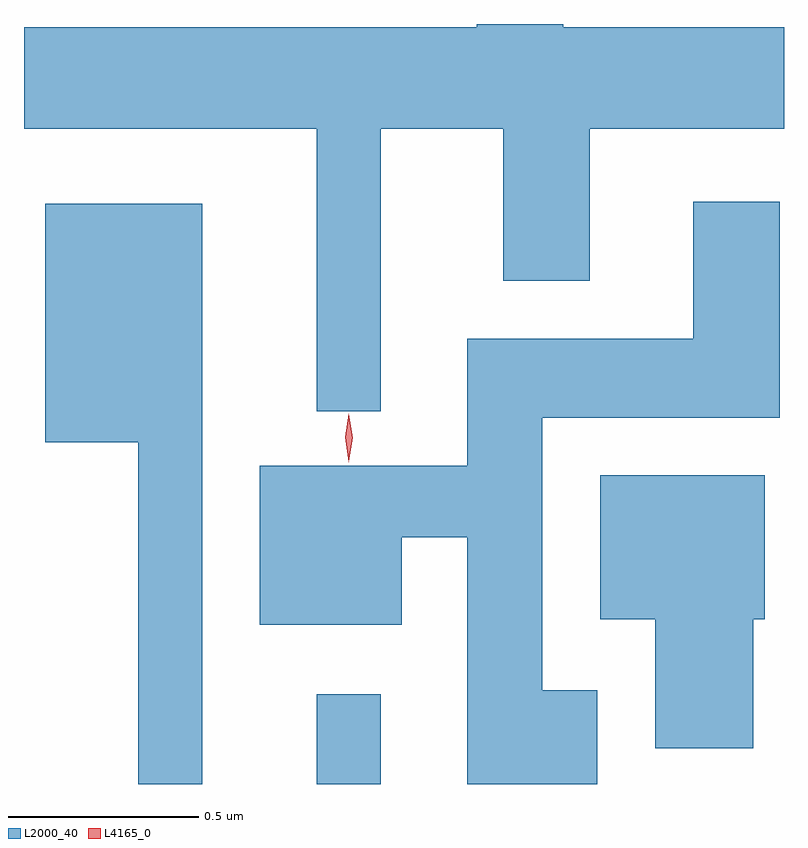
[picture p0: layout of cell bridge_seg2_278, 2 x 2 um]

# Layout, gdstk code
import gdstk
lib = gdstk.Library(unit=1e-6, precision=1e-09)
def R(c, l, rs):  # rectangles x0, y0, x1, y1
    for r in rs: c.add(gdstk.rectangle(r[:2], r[2:], *l))
def P(c, l, *ps):  # polygons
    for p in ps: c.add(gdstk.Polygon(p, *l))
L2000_40 = (2000, 40)
L4165_0 = (4165, 0)

bridge_seg2_278 = lib.new_cell('bridge_seg2_278')
R(bridge_seg2_278, L2000_40, [(572.321,1068.792,572.489,1069.028)])
P(bridge_seg2_278, L2000_40, [(572.489,1070.516),(572.811,1070.516),(572.811,1070.116),(573.039,1070.116),(573.039,1070.516),(573.55,1070.516),(573.55,1070.784),(572.969,1070.784),(572.969,1070.792),(572.741,1070.792),(572.741,1070.784),(571.55,1070.784),(571.55,1070.516),(572.321,1070.516),(572.321,1069.773),(572.489,1069.773)],
  [(573.059,1069.039),(572.914,1069.039),(572.914,1069.756),(573.539,1069.756),(573.539,1070.324),(573.311,1070.324),(573.311,1069.964),(572.716,1069.964),(572.716,1069.629),(572.171,1069.629),(572.171,1069.211),(572.544,1069.211),(572.544,1069.441),(572.716,1069.441),(572.716,1068.792),(573.059,1068.792)],
  [(572.019,1070.319),(571.606,1070.319),(571.606,1069.691),(571.851,1069.691),(571.851,1068.792),(572.019,1068.792)],
  [(573.469,1069.226),(573.499,1069.226),(573.499,1069.604),(573.066,1069.604),(573.066,1069.226),(573.211,1069.226),(573.211,1068.886),(573.469,1068.886)])
P(bridge_seg2_278, L4165_0, [(572.404,1069.639),(572.404,1069.64),(572.395,1069.704),(572.404,1069.767),(572.405,1069.767),(572.405,1069.767),(572.415,1069.703),(572.405,1069.64)])

lib.write_gds('bridge_seg2_278.gds')
